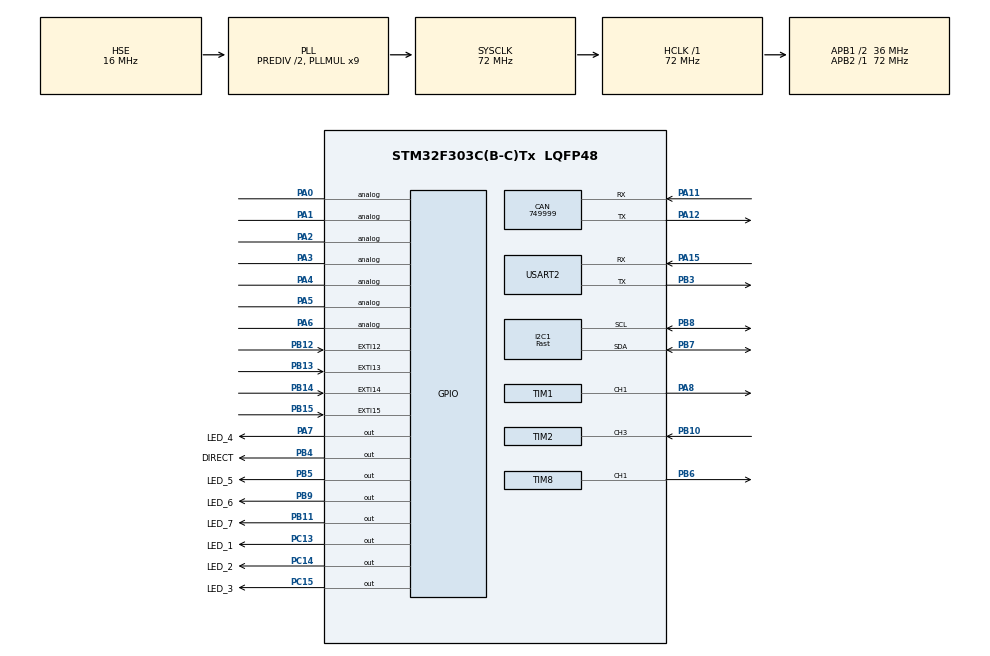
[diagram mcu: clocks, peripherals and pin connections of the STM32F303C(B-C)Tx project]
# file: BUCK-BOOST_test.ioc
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CAN.CalculateBaudRate=749999
CAN.CalculateTimeBit=1333
CAN.CalculateTimeQuantum=444.44444444444446
Dma.Request0=USART2_RX
Dma.Request1=USART2_TX
Dma.USART2_RX.0.Direction=DMA_PERIPH_TO_MEMORY
Dma.USART2_RX.0.Instance=DMA1_Channel6
Dma.USART2_RX.0.MemDataAlignment=DMA_MDATAALIGN_BYTE
Dma.USART2_RX.0.MemInc=DMA_MINC_ENABLE
Dma.USART2_RX.0.Mode=DMA_NORMAL
Dma.USART2_RX.0.PeriphDataAlignment=DMA_PDATAALIGN_BYTE
Dma.USART2_RX.0.PeriphInc=DMA_PINC_DISABLE
Dma.USART2_RX.0.Priority=DMA_PRIORITY_HIGH
Dma.USART2_TX.1.Direction=DMA_MEMORY_TO_PERIPH
Dma.USART2_TX.1.Instance=DMA1_Channel7
Dma.USART2_TX.1.MemDataAlignment=DMA_MDATAALIGN_BYTE
Dma.USART2_TX.1.MemInc=DMA_MINC_ENABLE
Dma.USART2_TX.1.Mode=DMA_NORMAL
Dma.USART2_TX.1.PeriphDataAlignment=DMA_PDATAALIGN_BYTE
Dma.USART2_TX.1.PeriphInc=DMA_PINC_DISABLE
Dma.USART2_TX.1.Priority=DMA_PRIORITY_LOW
I2C1.I2C_Coeff_DF=5
I2C1.I2C_Fall_Time=250
I2C1.I2C_Rise_Time=250
I2C1.I2C_Speed_Mode=I2C_Fast
I2C1.Timing=0x00200003
Mcu.Family=STM32F3
Mcu.Name=STM32F303C(B-C)Tx
Mcu.Package=LQFP48
NVIC.DMA1_Channel6_IRQn=true\:0\:0\:false\:false\:true\:false\:true\:true
NVIC.DMA1_Channel7_IRQn=true\:0\:0\:false\:false\:true\:false\:true\:true
NVIC.EXTI15_10_IRQn=true\:0\:0\:false\:false\:true\:true\:true\:true
NVIC.PriorityGroup=NVIC_PRIORITYGROUP_4
PA0.Signal=GPIO_Analog
PA1.Signal=GPIO_Analog
PA11.Mode=CAN_Activate
PA11.Signal=CAN_RX
PA12.Mode=CAN_Activate
PA12.Signal=CAN_TX
PA15.Mode=Asynchronous
PA15.Signal=USART2_RX
PA2.Signal=GPIO_Analog
PA3.Signal=GPIO_Analog
PA4.Signal=GPIO_Analog
PA5.Signal=GPIO_Analog
PA6.Signal=GPIO_Analog
PA7.GPIO_Label=LED_4
PA7.Signal=GPIO_Output
PA8.Signal=S_TIM1_CH1
PB10.Signal=S_TIM2_CH3
PB11.GPIO_Label=LED_7
PB11.Signal=GPIO_Output
PB12.GPIO_ModeDefaultEXTI=GPIO_MODE_IT_RISING_FALLING
PB12.Signal=GPXTI12
PB13.GPIO_ModeDefaultEXTI=GPIO_MODE_IT_RISING_FALLING
PB13.Signal=GPXTI13
PB14.GPIO_ModeDefaultEXTI=GPIO_MODE_IT_RISING_FALLING
PB14.Signal=GPXTI14
PB15.GPIO_PuPd=GPIO_PULLUP
PB15.Signal=GPXTI15
PB3.Mode=Asynchronous
PB3.Signal=USART2_TX
PB4.GPIO_Label=DIRECT
PB4.Signal=GPIO_Output
PB5.GPIO_Label=LED_5
PB5.Signal=GPIO_Output
PB6.Signal=S_TIM8_CH1
PB7.Mode=I2C
PB7.Signal=I2C1_SDA
PB8.Mode=I2C
PB8.Signal=I2C1_SCL
PB9.GPIO_Label=LED_6
PB9.Signal=GPIO_Output
PC13.GPIO_Label=LED_1
PC13.Signal=GPIO_Output
PC14-OSC32_IN.GPIO_Label=LED_2
PC14-OSC32_IN.Signal=GPIO_Output
PC15-OSC32_OUT.GPIO_Label=LED_3
PC15-OSC32_OUT.Signal=GPIO_Output
PF0-OSC_IN.Mode=HSE-External-Oscillator
PF0-OSC_IN.Signal=RCC_OSC_IN
PF1-OSC_OUT.Mode=HSE-External-Oscillator
PF1-OSC_OUT.Signal=RCC_OSC_OUT
ProjectManager.HeapSize=0x200
ProjectManager.StackSize=0x400
ProjectManager.TargetToolchain=STM32CubeIDE
RCC.AHBFreq_Value=72000000
RCC.APB1CLKDivider=RCC_HCLK_DIV2
RCC.APB1Freq_Value=36000000
RCC.APB1TimFreq_Value=72000000
RCC.APB2Freq_Value=72000000
RCC.APB2TimFreq_Value=72000000
RCC.CortexFreq_Value=72000000
RCC.HCLKFreq_Value=72000000
RCC.HSE_VALUE=16000000
RCC.HSI_VALUE=8000000
RCC.LSE_VALUE=32768
RCC.PLLMUL=RCC_PLL_MUL9
RCC.PLLSourceVirtual=RCC_PLLSOURCE_HSE
RCC.RCC_PLLsource_Clock_Source_FROM_HSE=RCC_HSE_PREDIV_DIV2
RCC.SYSCLKFreq_VALUE=72000000
RCC.SYSCLKSourceVirtual=RCC_SYSCLKSOURCE_PLLCLK
RCC.USBFreq_Value=72000000
SH.S_TIM1_CH1.0=TIM1_CH1,PWM Generation1 CH1
SH.S_TIM2_CH3.0=TIM2_CH3,Input_Capture3_from_TI3
SH.S_TIM8_CH1.0=TIM8_CH1,PWM Generation1 CH1
TIM1.Channel-PWM\ Generation1\ CH1=TIM_CHANNEL_1
TIM1.OCFastMode_PWM-PWM\ Generation1\ CH1=TIM_OCFAST_ENABLE
TIM1.Period=4000
TIM1.Pulse-PWM\ Generation1\ CH1=2000
TIM2.Channel-Input_Capture3_from_TI3=TIM_CHANNEL_3
TIM2.Channel-Input_Capture4_from_TI3_63=TIM_CHANNEL_4
TIM2.ICFilter_CH3=15
TIM8.Channel-PWM\ Generation1\ CH1=TIM_CHANNEL_1
TIM8.OCFastMode_PWM-PWM\ Generation1\ CH1=TIM_OCFAST_ENABLE
TIM8.Period=4000
TIM8.Pulse-PWM\ Generation1\ CH1=2000
USART2.VirtualMode-Asynchronous=VM_ASYNC
VP_TIM1_VS_ClockSourceINT.Mode=Internal
VP_TIM2_VS_ClockSourceINT.Mode=Internal
VP_TIM2_VS_indirect_ch3.Mode=Input_Capture4_from_TI3_63
VP_TIM8_VS_ClockSourceINT.Mode=Internal
board=custom

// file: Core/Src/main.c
/* USER CODE BEGIN Header */
/**
  ******************************************************************************
  * @file           : main.c
  * @brief          : Main program body
  ******************************************************************************
  * @attention
  *
  * Copyright (c) 2024 STMicroelectronics.
  * All rights reserved.
  *
  * This software is licensed under terms that can be found in the LICENSE file
  * in the root directory of this software component.
  * If no LICENSE file comes with this software, it is provided AS-IS.
  *
  ******************************************************************************
  */
/* USER CODE END Header */
#include "main.h"

/* USER CODE BEGIN Includes */
#include "I2C_display.h"
#include "I2C_interface.h"
#include "menu.h"
#include "modbusDevice.h"
#include "modbusSlave.h"
#include "adc_lib.h"
#include "Registers_handler.h"
#include "stdio.h"
#include "stdbool.h"
#include <stdint.h>
#include <stddef.h>
/* USER CODE END Includes */

CAN_HandleTypeDef hcan;

I2C_HandleTypeDef hi2c1;

TIM_HandleTypeDef htim1;
TIM_HandleTypeDef htim2;
TIM_HandleTypeDef htim8;

UART_HandleTypeDef huart2;
DMA_HandleTypeDef hdma_usart2_rx;
DMA_HandleTypeDef hdma_usart2_tx;

/* USER CODE BEGIN PV */

Menu menu;

bool flag=0;
bool buttons_states[8];

 uint8_t adc_flag=0;

#define ADC_BUFFER_SIZE 64
#define RX_BUFFER_SIZE 64
#define MIN_ADC 250
#define NUM_ITERATIONS 21
#define PHAZE_UPDATE 3000
#define MIDIAN 1410

#define USART_TIMEOUT 2000 // Таймаут в миллисекундах
#define LONG_BUTTON_PRESS 2000

 uint32_t  button_press=0;
 uint32_t lastActivityTime = 0;
 uint32_t UpdateMenuTime=0;

 uint16_t UpdatePhaze_1=0;
 uint16_t UpdatePhaze_2=0;
 uint16_t UpdatePhaze_3=0;
 uint16_t Measure=0;
 bool Phaze_1_Error=0;
 bool Phaze_2_Error=0;
 bool Phaze_3_Error=0;

 // Массивы для хранения времени последнего переключения для каждого светодиода
 static uint32_t led_last_toggle_time[7] = {0};  // �?спользуем 7 для учета индексов от 1 до 8
 static uint8_t led_state[7] = {0};  // Массив для хранения состояния светодиодов

 bool usartBusy = false;
 bool lcd_update=0;
 uint32_t pwm_buck=0;

 uint32_t period=0;
 uint32_t PulseWidth=0;

 uint16_t adc1_data[4];
 uint16_t adc2_data[3];

 uint16_t ADC_1_MAX=0;
 uint16_t ADC_2_MAX=0;
 uint16_t ADC_3_MAX=0;

 uint16_t ADC_1_MID=MIDIAN;
 uint16_t ADC_2_MID=MIDIAN;
 uint16_t ADC_3_MID=MIDIAN;

 uint16_t ADC_1_MIN=0;
 uint16_t ADC_2_MIN=0;
 uint16_t ADC_3_MIN=0;

 float VAC1=0;
 float VAC2=0;
 float VAC3=0;

 uint16_t adc_count=0;
 uint16_t adc_array[192]={0, };
 float f=0;

 uint8_t rxFrame[RX_BUFFER_SIZE];
 uint8_t txFrame[255];
 uint8_t SLAVE_ID=1;
 uint16_t data_reg[64]={0,};
 uint16_t rcv_data_reg[64]={0,};
/* USER CODE END PV */

void SystemClock_Config(void);
static void MX_GPIO_Init(void);
static void MX_DMA_Init(void);
static void MX_I2C1_Init(void);
static void MX_TIM1_Init(void);
static void MX_TIM8_Init(void);
static void MX_TIM2_Init(void);
static void MX_USART2_UART_Init(void);
static void MX_CAN_Init(void);

/* USER CODE BEGIN 0 */

void Check_USART2_Timeout(void)
{
    if (HAL_GetTick() - lastActivityTime >= USART_TIMEOUT)
    {
        Reset_USART2();
    }
}

void ALARM_LED(uint8_t LED) {
    // Убедитесь, что LED в допустимом диапазоне
    if (LED < 1 || LED > 7) return;

    uint32_t current_time = HAL_GetTick();

    // Проверка, прошло ли достаточно времени для переключения светодиода
    if ((current_time - led_last_toggle_time[LED]) >= TOGLE_TIME) {
        // Переключите состояние светодиода
        switch (LED) {
            case 1:
                LED_1_Togle;
                led_state[1] = !led_state[1];  // Обновить состояние светодиода
                break;
            case 2:
            	LED_2_Togle;
                led_state[2] = !led_state[2];
                break;
            case 3:
            	LED_3_Togle;
                led_state[3] = !led_state[3];
                break;
            case 4:
				LED_4_Togle;
				led_state[4] = !led_state[4];
				break;
        }

        // Обновите время последнего переключения
        led_last_toggle_time[LED] = current_time;
    }
}

void Reset_USART2(void)
{
    // Остановите передачу и прием, если они активны
    HAL_UART_DMAStop(&huart2);
    HAL_DMA_Abort(&hdma_usart2_rx);
    HAL_DMA_Abort(&hdma_usart2_tx);

    // Отключите прерывания
    __HAL_UART_DISABLE_IT(&huart2, UART_IT_IDLE);
    __HAL_UART_DISABLE_IT(&huart2, UART_IT_TC);
    __HAL_UART_DISABLE_IT(&huart2, UART_IT_RXNE);

    // Сбросьте периферийный модуль USART2
    __HAL_RCC_USART2_FORCE_RESET();
    HAL_Delay(1); // Дождитесь завершения сброса
    __HAL_RCC_USART2_RELEASE_RESET();

    // �?нициализируйте периферийный модуль USART2 заново
   // HAL_UART_Init(&huart2);
    MX_DMA_Init();
    MX_USART2_UART_Init();
    // Настройте DMA и запустите прием
    HAL_UARTEx_ReceiveToIdle_DMA(&huart2, rxFrame, RX_BUFFER_SIZE);
    __HAL_UART_ENABLE_IT(&huart2, UART_IT_IDLE);
    __HAL_DMA_DISABLE_IT(&hdma_usart2_rx, DMA_IT_HT);

    // Обновление времени последней активности
    lastActivityTime = HAL_GetTick();

}
/* USER CODE END 0 */

int main(void)
{

  /* MCU Configuration--------------------------------------------------------*/

  /* Reset of all peripherals, Initializes the Flash interface and the Systick. */
  HAL_Init();

  /* Configure the system clock */
  SystemClock_Config();

  /* Initialize all configured peripherals */
  MX_GPIO_Init();
  MX_DMA_Init();
  MX_I2C1_Init();
  MX_TIM1_Init();
  MX_TIM8_Init();
  MX_TIM2_Init();
  MX_USART2_UART_Init();
  MX_CAN_Init();
  /* USER CODE BEGIN 2 */
   LED_1_ON;
   LED_2_ON;
   LED_3_ON;
   LED_4_ON;
   LED_5_ON;
   LED_6_ON;
   LED_7_ON;

   ADC1_Init();
   ADC2_Init();

   HAL_Delay(100);
   lcd_init();
   lcd_clear();

   Menu_Init(&menu);

   HAL_TIM_PWM_Start(&htim1,TIM_CHANNEL_1);
   HAL_TIM_PWM_Start(&htim8, TIM_CHANNEL_1);
   LED_1_OFF;
   LED_2_OFF;
   LED_3_OFF;
   LED_4_OFF;
   LED_5_OFF;
   LED_6_OFF;
   LED_7_OFF;
  /* USER CODE END 2 */

  /* Infinite loop */
  /* USER CODE BEGIN WHILE */
  while (1)
  {

	  if((lcd_update==true)||((HAL_GetTick()-UpdateMenuTime)>=1000)){
		  lcd_set_cursor(2, 0);
		  sprintf(int_to_str, "1-%04d,2-%04d,3-%04d", adc2_data[0],adc2_data[1],adc2_data[2] );
		  lcd_write_string(int_to_str);

		  lcd_set_cursor(3, 0);
		  sprintf(int_to_str, "1-%04d,2-%04d,3-%04d", adc1_data[0],adc1_data[1],adc1_data[2] );
		  lcd_write_string(int_to_str);

		  lcd_set_cursor(4, 0);
		  sprintf(int_to_str, "1-%04d,2-%04d,3-%04d", ADC_1_MAX, ADC_2_MAX, ADC_3_MAX );
		  lcd_write_string(int_to_str);
          lcd_update=false;
          adc_count=0;
          UpdateMenuTime= HAL_GetTick();
	        }

	      LED_5_ON;
          Measure++;
		  ADC1_StartConversion(adc1_data);

		  ADC2_StartConversion(adc2_data);
		  LED_5_OFF;

           if(Measure<=400){
		  if(adc2_data[0]>=ADC_1_MID){ADC_1_MID=adc2_data[0];}
		  if(adc2_data[1]>=ADC_2_MID){ADC_2_MID=adc2_data[1];}
		  if(adc2_data[2]>=ADC_3_MID){ADC_3_MID=adc2_data[2];} }

           if(Measure==401){ADC_1_MAX=ADC_1_MID;ADC_2_MAX=ADC_2_MID;ADC_3_MAX=ADC_3_MID;}

		  if((HAL_GetTick()-UpdatePhaze_1)>= PHAZE_UPDATE){Phaze_1_Error=true; ALARM_LED(1);}else Phaze_1_Error=false;
		  if((HAL_GetTick()-UpdatePhaze_2)>= PHAZE_UPDATE){Phaze_2_Error=true; ALARM_LED(2);}else Phaze_2_Error=false;
		  if((HAL_GetTick()-UpdatePhaze_3)>= PHAZE_UPDATE){Phaze_3_Error=true; ALARM_LED(3);}else Phaze_3_Error=false;

    /* USER CODE END WHILE */

  }
}

void SystemClock_Config(void)
{
  RCC_OscInitTypeDef RCC_OscInitStruct = {0};
  RCC_ClkInitTypeDef RCC_ClkInitStruct = {0};
  RCC_PeriphCLKInitTypeDef PeriphClkInit = {0};

  /** Initializes the RCC Oscillators according to the specified parameters
  * in the RCC_OscInitTypeDef structure.
  */
  RCC_OscInitStruct.OscillatorType = RCC_OSCILLATORTYPE_HSI|RCC_OSCILLATORTYPE_HSE;
  RCC_OscInitStruct.HSEState = RCC_HSE_ON;
  RCC_OscInitStruct.HSEPredivValue = RCC_HSE_PREDIV_DIV2;
  RCC_OscInitStruct.HSIState = RCC_HSI_ON;
  RCC_OscInitStruct.HSICalibrationValue = RCC_HSICALIBRATION_DEFAULT;
  RCC_OscInitStruct.PLL.PLLState = RCC_PLL_ON;
  RCC_OscInitStruct.PLL.PLLSource = RCC_PLLSOURCE_HSE;
  RCC_OscInitStruct.PLL.PLLMUL = RCC_PLL_MUL9;
  if (HAL_RCC_OscConfig(&RCC_OscInitStruct) != HAL_OK)
  {
    Error_Handler();
  }

  /** Initializes the CPU, AHB and APB buses clocks
  */
  RCC_ClkInitStruct.ClockType = RCC_CLOCKTYPE_HCLK|RCC_CLOCKTYPE_SYSCLK
                              |RCC_CLOCKTYPE_PCLK1|RCC_CLOCKTYPE_PCLK2;
  RCC_ClkInitStruct.SYSCLKSource = RCC_SYSCLKSOURCE_PLLCLK;
  RCC_ClkInitStruct.AHBCLKDivider = RCC_SYSCLK_DIV1;
  RCC_ClkInitStruct.APB1CLKDivider = RCC_HCLK_DIV2;
  RCC_ClkInitStruct.APB2CLKDivider = RCC_HCLK_DIV1;

  if (HAL_RCC_ClockConfig(&RCC_ClkInitStruct, FLASH_LATENCY_2) != HAL_OK)
  {
    Error_Handler();
  }
  PeriphClkInit.PeriphClockSelection = RCC_PERIPHCLK_USART2|RCC_PERIPHCLK_I2C1
                              |RCC_PERIPHCLK_TIM1|RCC_PERIPHCLK_TIM8;
  PeriphClkInit.Usart2ClockSelection = RCC_USART2CLKSOURCE_PCLK1;
  PeriphClkInit.I2c1ClockSelection = RCC_I2C1CLKSOURCE_HSI;
  PeriphClkInit.Tim1ClockSelection = RCC_TIM1CLK_HCLK;
  PeriphClkInit.Tim8ClockSelection = RCC_TIM8CLK_HCLK;
  if (HAL_RCCEx_PeriphCLKConfig(&PeriphClkInit) != HAL_OK)
  {
    Error_Handler();
  }
}

static void MX_CAN_Init(void)
{

  hcan.Instance = CAN;
  hcan.Init.Prescaler = 16;
  hcan.Init.Mode = CAN_MODE_NORMAL;
  hcan.Init.SyncJumpWidth = CAN_SJW_1TQ;
  hcan.Init.TimeSeg1 = CAN_BS1_1TQ;
  hcan.Init.TimeSeg2 = CAN_BS2_1TQ;
  hcan.Init.TimeTriggeredMode = DISABLE;
  hcan.Init.AutoBusOff = DISABLE;
  hcan.Init.AutoWakeUp = DISABLE;
  hcan.Init.AutoRetransmission = DISABLE;
  hcan.Init.ReceiveFifoLocked = DISABLE;
  hcan.Init.TransmitFifoPriority = DISABLE;
  if (HAL_CAN_Init(&hcan) != HAL_OK)
  {
    Error_Handler();
  }

}

static void MX_I2C1_Init(void)
{

  hi2c1.Instance = I2C1;
  hi2c1.Init.Timing = 0x00200003;
  hi2c1.Init.OwnAddress1 = 0;
  hi2c1.Init.AddressingMode = I2C_ADDRESSINGMODE_7BIT;
  hi2c1.Init.DualAddressMode = I2C_DUALADDRESS_DISABLE;
  hi2c1.Init.OwnAddress2 = 0;
  hi2c1.Init.OwnAddress2Masks = I2C_OA2_NOMASK;
  hi2c1.Init.GeneralCallMode = I2C_GENERALCALL_DISABLE;
  hi2c1.Init.NoStretchMode = I2C_NOSTRETCH_DISABLE;
  if (HAL_I2C_Init(&hi2c1) != HAL_OK)
  {
    Error_Handler();
  }

  /** Configure Analogue filter
  */
  if (HAL_I2CEx_ConfigAnalogFilter(&hi2c1, I2C_ANALOGFILTER_ENABLE) != HAL_OK)
  {
    Error_Handler();
  }

  /** Configure Digital filter
  */
  if (HAL_I2CEx_ConfigDigitalFilter(&hi2c1, 5) != HAL_OK)
  {
    Error_Handler();
  }

}

static void MX_TIM1_Init(void)
{

  TIM_ClockConfigTypeDef sClockSourceConfig = {0};
  TIM_MasterConfigTypeDef sMasterConfig = {0};
  TIM_OC_InitTypeDef sConfigOC = {0};
  TIM_BreakDeadTimeConfigTypeDef sBreakDeadTimeConfig = {0};

  htim1.Instance = TIM1;
  htim1.Init.Prescaler = 0;
  htim1.Init.CounterMode = TIM_COUNTERMODE_UP;
  htim1.Init.Period = 4000;
  htim1.Init.ClockDivision = TIM_CLOCKDIVISION_DIV1;
  htim1.Init.RepetitionCounter = 0;
  htim1.Init.AutoReloadPreload = TIM_AUTORELOAD_PRELOAD_DISABLE;
  if (HAL_TIM_Base_Init(&htim1) != HAL_OK)
  {
    Error_Handler();
  }
  sClockSourceConfig.ClockSource = TIM_CLOCKSOURCE_INTERNAL;
  if (HAL_TIM_ConfigClockSource(&htim1, &sClockSourceConfig) != HAL_OK)
  {
    Error_Handler();
  }
  if (HAL_TIM_PWM_Init(&htim1) != HAL_OK)
  {
    Error_Handler();
  }
  sMasterConfig.MasterOutputTrigger = TIM_TRGO_RESET;
  sMasterConfig.MasterOutputTrigger2 = TIM_TRGO2_RESET;
  sMasterConfig.MasterSlaveMode = TIM_MASTERSLAVEMODE_DISABLE;
  if (HAL_TIMEx_MasterConfigSynchronization(&htim1, &sMasterConfig) != HAL_OK)
  {
    Error_Handler();
  }
  sConfigOC.OCMode = TIM_OCMODE_PWM1;
  sConfigOC.Pulse = 2000;
  sConfigOC.OCPolarity = TIM_OCPOLARITY_HIGH;
  sConfigOC.OCNPolarity = TIM_OCNPOLARITY_HIGH;
  sConfigOC.OCFastMode = TIM_OCFAST_ENABLE;
  sConfigOC.OCIdleState = TIM_OCIDLESTATE_RESET;
  sConfigOC.OCNIdleState = TIM_OCNIDLESTATE_RESET;
  if (HAL_TIM_PWM_ConfigChannel(&htim1, &sConfigOC, TIM_CHANNEL_1) != HAL_OK)
  {
    Error_Handler();
  }
  sBreakDeadTimeConfig.OffStateRunMode = TIM_OSSR_DISABLE;
  sBreakDeadTimeConfig.OffStateIDLEMode = TIM_OSSI_DISABLE;
  sBreakDeadTimeConfig.LockLevel = TIM_LOCKLEVEL_OFF;
  sBreakDeadTimeConfig.DeadTime = 0;
  sBreakDeadTimeConfig.BreakState = TIM_BREAK_DISABLE;
  sBreakDeadTimeConfig.BreakPolarity = TIM_BREAKPOLARITY_HIGH;
  sBreakDeadTimeConfig.BreakFilter = 0;
  sBreakDeadTimeConfig.Break2State = TIM_BREAK2_DISABLE;
  sBreakDeadTimeConfig.Break2Polarity = TIM_BREAK2POLARITY_HIGH;
  sBreakDeadTimeConfig.Break2Filter = 0;
  sBreakDeadTimeConfig.AutomaticOutput = TIM_AUTOMATICOUTPUT_DISABLE;
  if (HAL_TIMEx_ConfigBreakDeadTime(&htim1, &sBreakDeadTimeConfig) != HAL_OK)
  {
    Error_Handler();
  }
  HAL_TIM_MspPostInit(&htim1);

}

static void MX_TIM2_Init(void)
{

  TIM_ClockConfigTypeDef sClockSourceConfig = {0};
  TIM_MasterConfigTypeDef sMasterConfig = {0};
  TIM_IC_InitTypeDef sConfigIC = {0};

  htim2.Instance = TIM2;
  htim2.Init.Prescaler = 0;
  htim2.Init.CounterMode = TIM_COUNTERMODE_UP;
  htim2.Init.Period = 4294967295;
  htim2.Init.ClockDivision = TIM_CLOCKDIVISION_DIV1;
  htim2.Init.AutoReloadPreload = TIM_AUTORELOAD_PRELOAD_DISABLE;
  if (HAL_TIM_Base_Init(&htim2) != HAL_OK)
  {
    Error_Handler();
  }
  sClockSourceConfig.ClockSource = TIM_CLOCKSOURCE_INTERNAL;
  if (HAL_TIM_ConfigClockSource(&htim2, &sClockSourceConfig) != HAL_OK)
  {
    Error_Handler();
  }
  if (HAL_TIM_IC_Init(&htim2) != HAL_OK)
  {
    Error_Handler();
  }
  sMasterConfig.MasterOutputTrigger = TIM_TRGO_RESET;
  sMasterConfig.MasterSlaveMode = TIM_MASTERSLAVEMODE_DISABLE;
  if (HAL_TIMEx_MasterConfigSynchronization(&htim2, &sMasterConfig) != HAL_OK)
  {
    Error_Handler();
  }
  sConfigIC.ICPolarity = TIM_INPUTCHANNELPOLARITY_RISING;
  sConfigIC.ICSelection = TIM_ICSELECTION_DIRECTTI;
  sConfigIC.ICPrescaler = TIM_ICPSC_DIV1;
  sConfigIC.ICFilter = 15;
  if (HAL_TIM_IC_ConfigChannel(&htim2, &sConfigIC, TIM_CHANNEL_3) != HAL_OK)
  {
    Error_Handler();
  }
  sConfigIC.ICSelection = TIM_ICSELECTION_INDIRECTTI;
  sConfigIC.ICFilter = 0;
  if (HAL_TIM_IC_ConfigChannel(&htim2, &sConfigIC, TIM_CHANNEL_4) != HAL_OK)
  {
    Error_Handler();
  }

}

static void MX_TIM8_Init(void)
{

  TIM_ClockConfigTypeDef sClockSourceConfig = {0};
  TIM_MasterConfigTypeDef sMasterConfig = {0};
  TIM_OC_InitTypeDef sConfigOC = {0};
  TIM_BreakDeadTimeConfigTypeDef sBreakDeadTimeConfig = {0};

  htim8.Instance = TIM8;
  htim8.Init.Prescaler = 0;
  htim8.Init.CounterMode = TIM_COUNTERMODE_UP;
  htim8.Init.Period = 4000;
  htim8.Init.ClockDivision = TIM_CLOCKDIVISION_DIV1;
  htim8.Init.RepetitionCounter = 0;
  htim8.Init.AutoReloadPreload = TIM_AUTORELOAD_PRELOAD_DISABLE;
  if (HAL_TIM_Base_Init(&htim8) != HAL_OK)
  {
    Error_Handler();
  }
  sClockSourceConfig.ClockSource = TIM_CLOCKSOURCE_INTERNAL;
  if (HAL_TIM_ConfigClockSource(&htim8, &sClockSourceConfig) != HAL_OK)
  {
    Error_Handler();
  }
  if (HAL_TIM_PWM_Init(&htim8) != HAL_OK)
  {
    Error_Handler();
  }
  sMasterConfig.MasterOutputTrigger = TIM_TRGO_RESET;
  sMasterConfig.MasterOutputTrigger2 = TIM_TRGO2_RESET;
  sMasterConfig.MasterSlaveMode = TIM_MASTERSLAVEMODE_DISABLE;
  if (HAL_TIMEx_MasterConfigSynchronization(&htim8, &sMasterConfig) != HAL_OK)
  {
    Error_Handler();
  }
  sConfigOC.OCMode = TIM_OCMODE_PWM1;
  sConfigOC.Pulse = 2000;
  sConfigOC.OCPolarity = TIM_OCPOLARITY_HIGH;
  sConfigOC.OCNPolarity = TIM_OCNPOLARITY_HIGH;
  sConfigOC.OCFastMode = TIM_OCFAST_ENABLE;
  sConfigOC.OCIdleState = TIM_OCIDLESTATE_RESET;
  sConfigOC.OCNIdleState = TIM_OCNIDLESTATE_RESET;
  if (HAL_TIM_PWM_ConfigChannel(&htim8, &sConfigOC, TIM_CHANNEL_1) != HAL_OK)
  {
    Error_Handler();
  }
  sBreakDeadTimeConfig.OffStateRunMode = TIM_OSSR_DISABLE;
  sBreakDeadTimeConfig.OffStateIDLEMode = TIM_OSSI_DISABLE;
  sBreakDeadTimeConfig.LockLevel = TIM_LOCKLEVEL_OFF;
  sBreakDeadTimeConfig.DeadTime = 0;
  sBreakDeadTimeConfig.BreakState = TIM_BREAK_DISABLE;
  sBreakDeadTimeConfig.BreakPolarity = TIM_BREAKPOLARITY_HIGH;
  sBreakDeadTimeConfig.BreakFilter = 0;
  sBreakDeadTimeConfig.Break2State = TIM_BREAK2_DISABLE;
  sBreakDeadTimeConfig.Break2Polarity = TIM_BREAK2POLARITY_HIGH;
  sBreakDeadTimeConfig.Break2Filter = 0;
  sBreakDeadTimeConfig.AutomaticOutput = TIM_AUTOMATICOUTPUT_DISABLE;
  if (HAL_TIMEx_ConfigBreakDeadTime(&htim8, &sBreakDeadTimeConfig) != HAL_OK)
  {
    Error_Handler();
  }
  HAL_TIM_MspPostInit(&htim8);

}

static void MX_USART2_UART_Init(void)
{

  huart2.Instance = USART2;
  huart2.Init.BaudRate = 38400;
  huart2.Init.WordLength = UART_WORDLENGTH_8B;
  huart2.Init.StopBits = UART_STOPBITS_1;
  huart2.Init.Parity = UART_PARITY_NONE;
  huart2.Init.Mode = UART_MODE_TX_RX;
  huart2.Init.HwFlowCtl = UART_HWCONTROL_NONE;
  huart2.Init.OverSampling = UART_OVERSAMPLING_16;
  huart2.Init.OneBitSampling = UART_ONE_BIT_SAMPLE_DISABLE;
  huart2.AdvancedInit.AdvFeatureInit = UART_ADVFEATURE_NO_INIT;
  if (HAL_UART_Init(&huart2) != HAL_OK)
  {
    Error_Handler();
  }

}

static void MX_DMA_Init(void)
{

  /* DMA controller clock enable */
  __HAL_RCC_DMA1_CLK_ENABLE();

  /* DMA interrupt init */
  /* DMA1_Channel6_IRQn interrupt configuration */
  HAL_NVIC_SetPriority(DMA1_Channel6_IRQn, 0, 0);
  HAL_NVIC_EnableIRQ(DMA1_Channel6_IRQn);
  /* DMA1_Channel7_IRQn interrupt configuration */
  HAL_NVIC_SetPriority(DMA1_Channel7_IRQn, 0, 0);
  HAL_NVIC_EnableIRQ(DMA1_Channel7_IRQn);

}

static void MX_GPIO_Init(void)
{
  GPIO_InitTypeDef GPIO_InitStruct = {0};

  /* GPIO Ports Clock Enable */
  __HAL_RCC_GPIOC_CLK_ENABLE();
  __HAL_RCC_GPIOF_CLK_ENABLE();
  __HAL_RCC_GPIOA_CLK_ENABLE();
  __HAL_RCC_GPIOB_CLK_ENABLE();

  /*Configure GPIO pin Output Level */
  HAL_GPIO_WritePin(GPIOC, LED_1_Pin|LED_2_Pin|LED_3_Pin, GPIO_PIN_RESET);

  /*Configure GPIO pin Output Level */
  HAL_GPIO_WritePin(LED_4_GPIO_Port, LED_4_Pin, GPIO_PIN_RESET);

  /*Configure GPIO pin Output Level */
  HAL_GPIO_WritePin(GPIOB, LED_7_Pin|DIRECT_Pin|LED_5_Pin|LED_6_Pin, GPIO_PIN_RESET);

  /*Configure GPIO pins : LED_1_Pin LED_2_Pin LED_3_Pin */
  GPIO_InitStruct.Pin = LED_1_Pin|LED_2_Pin|LED_3_Pin;
  GPIO_InitStruct.Mode = GPIO_MODE_OUTPUT_PP;
  GPIO_InitStruct.Pull = GPIO_NOPULL;
  GPIO_InitStruct.Speed = GPIO_SPEED_FREQ_LOW;
  HAL_GPIO_Init(GPIOC, &GPIO_InitStruct);

  /*Configure GPIO pins : PA0 PA1 PA2 PA3
                           PA4 PA5 PA6 */
  GPIO_InitStruct.Pin = GPIO_PIN_0|GPIO_PIN_1|GPIO_PIN_2|GPIO_PIN_3
                          |GPIO_PIN_4|GPIO_PIN_5|GPIO_PIN_6;
  GPIO_InitStruct.Mode = GPIO_MODE_ANALOG;
  GPIO_InitStruct.Pull = GPIO_NOPULL;
  HAL_GPIO_Init(GPIOA, &GPIO_InitStruct);

  /*Configure GPIO pin : LED_4_Pin */
  GPIO_InitStruct.Pin = LED_4_Pin;
  GPIO_InitStruct.Mode = GPIO_MODE_OUTPUT_PP;
  GPIO_InitStruct.Pull = GPIO_NOPULL;
  GPIO_InitStruct.Speed = GPIO_SPEED_FREQ_LOW;
  HAL_GPIO_Init(LED_4_GPIO_Port, &GPIO_InitStruct);

  /*Configure GPIO pins : LED_7_Pin DIRECT_Pin LED_5_Pin LED_6_Pin */
  GPIO_InitStruct.Pin = LED_7_Pin|DIRECT_Pin|LED_5_Pin|LED_6_Pin;
  GPIO_InitStruct.Mode = GPIO_MODE_OUTPUT_PP;
  GPIO_InitStruct.Pull = GPIO_NOPULL;
  GPIO_InitStruct.Speed = GPIO_SPEED_FREQ_LOW;
  HAL_GPIO_Init(GPIOB, &GPIO_InitStruct);

  /*Configure GPIO pins : PB12 PB13 PB14 */
  GPIO_InitStruct.Pin = GPIO_PIN_12|GPIO_PIN_13|GPIO_PIN_14;
  GPIO_InitStruct.Mode = GPIO_MODE_IT_RISING_FALLING;
  GPIO_InitStruct.Pull = GPIO_NOPULL;
  HAL_GPIO_Init(GPIOB, &GPIO_InitStruct);

  /*Configure GPIO pin : PB15 */
  GPIO_InitStruct.Pin = GPIO_PIN_15;
  GPIO_InitStruct.Mode = GPIO_MODE_IT_RISING;
  GPIO_InitStruct.Pull = GPIO_PULLUP;
  HAL_GPIO_Init(GPIOB, &GPIO_InitStruct);

  /* EXTI interrupt init*/
  HAL_NVIC_SetPriority(EXTI15_10_IRQn, 0, 0);
  HAL_NVIC_EnableIRQ(EXTI15_10_IRQn);

}

/* USER CODE BEGIN 4 */

void HAL_GPIO_EXTI_Callback(uint16_t GPIO_Pin)
{

	if(GPIO_Pin == GPIO_PIN_12) // если прерывание поступило от ножки PA1
		   {
			if (GPIO_PIN_SET == HAL_GPIO_ReadPin (GPIOB, GPIO_PIN_12)){

					   LED_1_ON;
                  UpdatePhaze_1=HAL_GetTick();
                     adc_count++;
                     if(adc_count>=50){adc_count=0;lcd_update=true;}
				   }

			     if (GPIO_PIN_RESET == HAL_GPIO_ReadPin (GPIOB, GPIO_PIN_12)){
			           LED_1_OFF;

			     }
			     EXTI->PR = EXTI_PR_PR12;
		   }

	   if(GPIO_Pin == GPIO_PIN_13) // если прерывание поступило от ножки PC13
	   {

		   if (GPIO_PIN_SET == HAL_GPIO_ReadPin (GPIOB, GPIO_PIN_13)){
	              LED_2_ON;}
		      UpdatePhaze_2=HAL_GetTick();

	       if (GPIO_PIN_RESET == HAL_GPIO_ReadPin (GPIOB, GPIO_PIN_13)){
	              LED_2_OFF;

	         }
	       EXTI->PR = EXTI_PR_PR13;
	   }

	   if(GPIO_Pin == GPIO_PIN_14) // если прерывание поступило от ножки PC14
	     {

		   if (GPIO_PIN_SET == HAL_GPIO_ReadPin (GPIOB, GPIO_PIN_14)){
	           LED_3_ON;
	           UpdatePhaze_3=HAL_GetTick();

			  }

		   if (GPIO_PIN_RESET == HAL_GPIO_ReadPin (GPIOB, GPIO_PIN_14)){
	           LED_3_OFF;

	           if(adc_count>=50){adc_count=0;lcd_update=true;}

			   }
		       EXTI->PR = EXTI_PR_PR14;
	       }

   if(GPIO_Pin == GPIO_PIN_15) // если прерывание поступило от ножки 15
      {
	   if (GPIO_PIN_RESET == HAL_GPIO_ReadPin (GPIOB, GPIO_PIN_15)){
          //  button_press = HAL_GetTick();
		   LED_4_ON;
		//   Get_Buttons_States(buttons_states);

		    for (uint8_t i = 0; i < 8; i++) {
		  			     if (buttons_states[i]) {
		  			      //   Menu_HandleButtonPress(&menu, i + 1);

		  			                   }
		  			               }

	   }

     if (GPIO_PIN_SET == HAL_GPIO_ReadPin (GPIOB, GPIO_PIN_15)){
           LED_4_OFF;

            }

        EXTI->PR = EXTI_PR_PR15;
        }

}

/* USER CODE END 4 */

void Error_Handler(void)
{
  __disable_irq();
  while (1)
  {
  }
}
